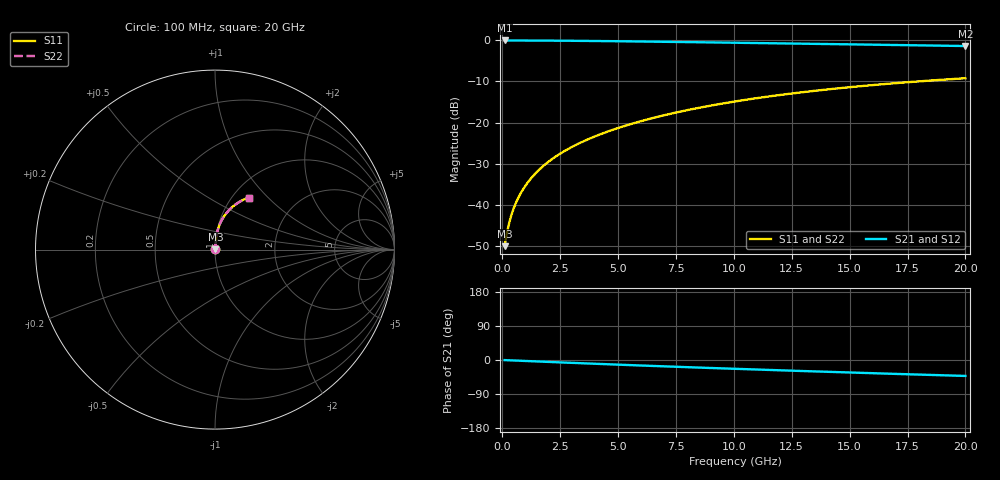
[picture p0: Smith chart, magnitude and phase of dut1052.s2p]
! Touchstone file exported from HFSS 2024.1.0
!  File:  C:/UserFiles/LocalFiles/RDL_TSV_Batchsim/temp_RDL_top_1052_1780044522.aedt
!  Generated:  04:50:36 PM May 29, 2026
!  Design:  RDL_top
!  Project:  temp_RDL_top_1052_1780044522
!  Setup:  Setup1
!  Solution:  Sweep
! Variables:
!  dtsv = 10.80580581um
!  hbump = 3um
!  htsv = 93.13um
!  ldown = 100um
!  lrdl = 623.6um
!  p = 40
!  p1 = 46.68um
!  rhole = 1um
!  t = 450um
!  tdown = 3.915915916um
!  trdl = 4.29um
!  wdown = 15.38538539um
!  wrdl = 21.89um
# GHz S MA R 50.000000
! Terminal data exported
! Port[1] = Box2_T1
! Port[2] = Box2_T2
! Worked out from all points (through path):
!   200 points, 100 MHz to 20 GHz, reference 50 ohm
!   highest |S21| = -0.02 dB at 100 MHz (marker M1); lowest = -1.4 dB at 20 GHz (marker M2)
!   group delay of S21, straight-line fit = 5.79 ps
!   lowest |S11| = -50.0 dB at 100 MHz (marker M3), VSWR 1.01, Z = 50.3 + j0.188 ohm
!   |S11| at or under -10 dB: start of sweep to 17.91 GHz
!   |S22| runs from -50.0 to -9.2 dB; largest |S21 - S12| = 5.1e-15
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0.1  0.003148 36.5  0.9975 -0.3  0.9975 -0.3  0.003148 36.5
! Gamma 0 0 0 0
! Port Impedance 50 0 50 0
0.2  0.004543 53.9  0.9973 -0.5  0.9973 -0.5  0.004543 53.9
0.3  0.006083 62.1  0.9971 -0.8  0.9971 -0.8  0.006084 62.1
0.4  0.007639 67.0  0.9969 -1.0  0.9969 -1.0  0.007639 67.0
0.5  0.009196 70.3  0.9967 -1.3  0.9967 -1.3  0.009196 70.3
0.6  0.01076 72.8  0.9965 -1.5  0.9965 -1.5  0.01076 72.7
0.8  0.01392 76.2  0.9962 -2.1  0.9962 -2.1  0.01392 76.2
1.1  0.01873 79.2  0.9956 -2.8  0.9956 -2.8  0.01873 79.2
1.3  0.02197 80.5  0.9951 -3.3  0.9951 -3.3  0.02197 80.5
1.6  0.0269 81.9  0.9943 -4.1  0.9943 -4.1  0.0269 81.9
2.1  0.03521 83.2  0.9926 -5.3  0.9926 -5.3  0.03521 83.2
2.7  0.04537 83.9  0.99 -6.8  0.99 -6.8  0.04536 83.9
3.5  0.05919 84.1  0.9858 -8.8  0.9858 -8.8  0.05918 84.1
4.2  0.07156 83.9  0.9815 -10.4  0.9815 -10.4  0.07154 83.9
5  0.08599 83.4  0.9761 -12.3  0.9761 -12.3  0.08596 83.4
6.8  0.1194 81.3  0.9626 -16.4  0.9626 -16.4  0.1193 81.3
8.4  0.1497 78.8  0.9498 -19.8  0.9498 -19.8  0.1496 78.8
10.1  0.1818 75.8  0.9357 -23.4  0.9357 -23.4  0.1817 75.8
11.7  0.2115 72.8  0.9223 -26.6  0.9223 -26.6  0.2114 72.8
13.4  0.2421 69.5  0.9081 -29.9  0.9081 -29.9  0.2419 69.5
16.7  0.2974 63.1  0.8805 -36.2  0.8805 -36.2  0.2972 63.0
20  0.3465 56.9  0.8534 -42.1  0.8534 -42.1  0.3463 56.9
